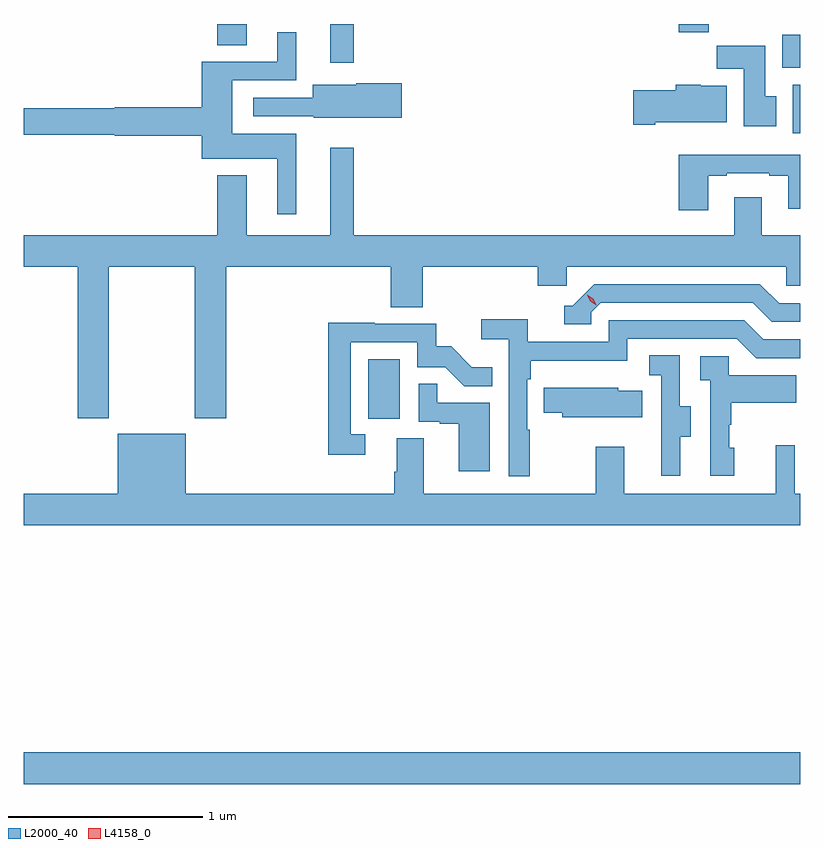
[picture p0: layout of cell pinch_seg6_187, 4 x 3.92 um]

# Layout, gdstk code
import gdstk
lib = gdstk.Library(unit=1e-6, precision=1e-09)
def R(c, l, rs):  # rectangles x0, y0, x1, y1
    for r in rs: c.add(gdstk.rectangle(r[:2], r[2:], *l))
def P(c, l, *ps):  # polygons
    for p in ps: c.add(gdstk.Polygon(p, *l))
L2000_40 = (2000, 40)
L4158_0 = (4158, 0)

pinch_seg6_187 = lib.new_cell('pinch_seg6_187')
R(pinch_seg6_187, L2000_40, [(1053.544,927.356,1057.544,927.52), (1055.318,929.238,1055.482,929.545), (1057.505,930.708,1057.544,930.958), (1057.451,931.046,1057.544,931.216), (1055.123,931.071,1055.245,931.271), (1054.541,931.162,1054.693,931.271), (1056.917,931.228,1057.073,931.271)])
P(pinch_seg6_187, L2000_40, [(1054.948,930.706),(1054.618,930.706),(1054.618,930.981),(1054.948,930.981),(1054.948,931.228),(1054.85,931.228),(1054.85,931.077),(1054.46,931.077),(1054.46,930.842),(1054.014,930.842),(1054.014,930.836),(1053.544,930.836),(1053.544,930.7),(1054.014,930.7),(1054.014,930.695),(1054.46,930.695),(1054.46,930.578),(1054.85,930.578),(1054.85,930.291),(1054.948,930.291)],
  [(1057.42,930.9),(1057.363,930.9),(1057.363,931.158),(1057.114,931.158),(1057.114,931.04),(1057.253,931.04),(1057.253,930.744),(1057.42,930.744)],
  [(1055.491,930.966),(1055.256,930.966),(1055.256,930.958),(1055.033,930.958),(1055.033,930.891),(1054.725,930.891),(1054.725,930.795),(1055.037,930.795),(1055.037,930.788),(1055.491,930.788)],
  [(1056.796,930.764),(1057.165,930.764),(1057.165,930.952),(1057.032,930.952),(1057.032,930.958),(1056.902,930.958),(1056.902,930.93),(1056.684,930.93),(1056.684,930.752),(1056.796,930.752)],
  [(1053.981,930.02),(1054.426,930.02),(1054.426,929.241),(1054.586,929.241),(1054.586,930.02),(1055.435,930.02),(1055.435,929.812),(1055.6,929.812),(1055.6,930.02),(1056.191,930.02),(1056.191,929.922),(1056.342,929.922),(1056.342,930.02),(1057.473,930.02),(1057.473,929.922),(1057.544,929.922),(1057.544,930.184),(1057.345,930.184),(1057.345,930.379),(1057.205,930.379),(1057.205,930.184),(1055.245,930.184),(1055.245,930.634),(1055.123,930.634),(1055.123,930.184),(1054.693,930.184),(1054.693,930.493),(1054.541,930.493),(1054.541,930.184),(1053.544,930.184),(1053.544,930.02),(1053.821,930.02),(1053.821,929.241),(1053.981,929.241)],
  [(1057.069,930.489),(1057.165,930.489),(1057.165,930.501),(1057.385,930.501),(1057.385,930.489),(1057.481,930.489),(1057.481,930.32),(1057.544,930.32),(1057.544,930.598),(1056.917,930.598),(1056.917,930.312),(1057.069,930.312)],
  [(1056.468,929.787),(1056.516,929.835),(1057.299,929.835),(1057.398,929.736),(1057.544,929.736),(1057.544,929.829),(1057.542,929.829),(1057.542,929.832),(1057.435,929.832),(1057.336,929.931),(1056.483,929.931),(1056.372,929.82),(1056.329,929.82),(1056.329,929.724),(1056.468,929.724)],
  [(1056.151,929.18),(1056.138,929.18),(1056.138,929.441),(1056.155,929.441),(1056.155,929.537),(1056.654,929.537),(1056.654,929.649),(1057.218,929.649),(1057.317,929.55),(1057.544,929.55),(1057.544,929.646),(1057.354,929.646),(1057.255,929.745),(1056.558,929.745),(1056.558,929.634),(1056.14,929.634),(1056.14,929.75),(1055.901,929.75),(1055.901,929.648),(1056.042,929.648),(1056.042,928.941),(1056.151,928.941)],
  [(1055.302,929.157),(1055.229,929.157),(1055.229,929.631),(1055.571,929.631),(1055.571,929.502),(1055.715,929.502),(1055.813,929.404),(1055.957,929.404),(1055.957,929.503),(1055.853,929.503),(1055.746,929.61),(1055.67,929.61),(1055.67,929.727),(1055.351,929.727),(1055.351,929.732),(1055.113,929.732),(1055.113,929.052),(1055.302,929.052)],
  [(1056.925,929.146),(1056.979,929.146),(1056.979,929.301),(1056.924,929.301),(1056.924,929.564),(1056.765,929.564),(1056.765,929.461),(1056.828,929.461),(1056.828,929.157),(1056.827,929.157),(1056.827,928.944),(1056.925,928.944)],
  [(1057.204,929.088),(1057.179,929.088),(1057.179,929.207),(1057.189,929.207),(1057.189,929.321),(1057.523,929.321),(1057.523,929.461),(1057.176,929.461),(1057.176,929.559),(1057.029,929.559),(1057.029,929.435),(1057.08,929.435),(1057.08,928.944),(1057.204,928.944)],
  [(1055.944,929.319),(1055.675,929.319),(1055.675,929.417),(1055.58,929.417),(1055.58,929.223),(1055.687,929.223),(1055.687,929.211),(1055.786,929.211),(1055.786,928.968),(1055.944,928.968)],
  [(1056.731,929.383),(1056.606,929.383),(1056.606,929.398),(1056.334,929.398),(1056.334,929.397),(1056.223,929.397),(1056.223,929.269),(1056.317,929.269),(1056.317,929.246),(1056.731,929.246)],
  [(1057.544,928.852),(1057.515,928.852),(1057.515,929.101),(1057.418,929.101),(1057.418,928.852),(1056.637,928.852),(1056.637,929.092),(1056.49,929.092),(1056.49,928.852),(1055.605,928.852),(1055.605,929.138),(1055.465,929.138),(1055.465,928.964),(1055.453,928.964),(1055.453,928.852),(1054.378,928.852),(1054.378,929.161),(1054.028,929.161),(1054.028,928.852),(1053.544,928.852),(1053.544,928.688),(1057.544,928.688)])
P(pinch_seg6_187, L4158_0, [(1056.494,929.823),(1056.463,929.842),(1056.447,929.875),(1056.447,929.875),(1056.447,929.875),(1056.478,929.856),(1056.494,929.823),(1056.494,929.823)])

lib.write_gds('pinch_seg6_187.gds')
